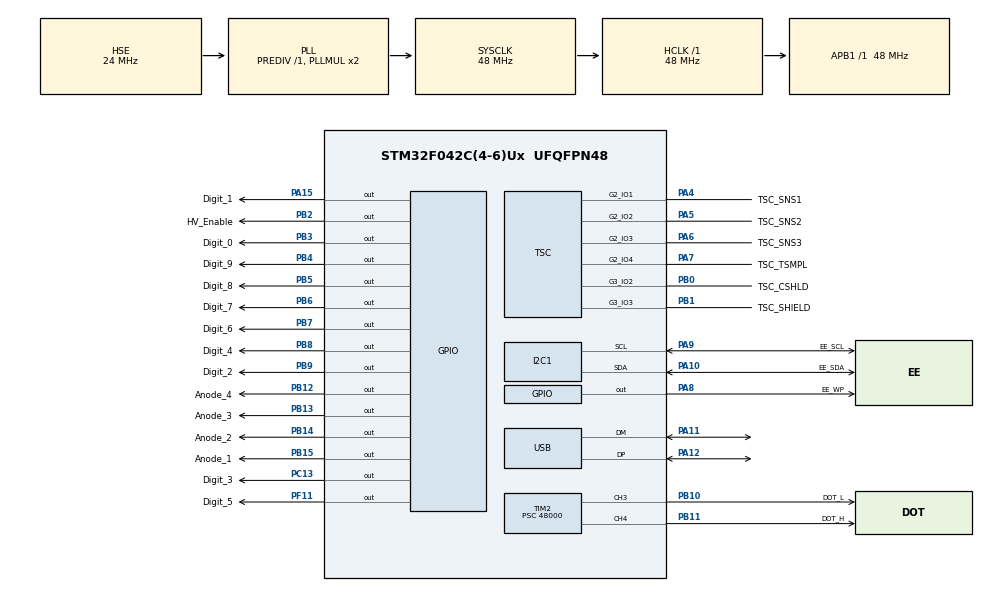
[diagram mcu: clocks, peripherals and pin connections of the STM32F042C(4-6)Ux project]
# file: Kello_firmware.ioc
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ADC.ClockPrescaler=ADC_CLOCK_ASYNC_DIV1
ADC.ContinuousConvMode=DISABLE
ADC.DMAContinuousRequests=DISABLE
ADC.DataAlign=ADC_DATAALIGN_RIGHT
ADC.DiscontinuousConvMode=DISABLE
ADC.EOCSelection=ADC_EOC_SINGLE_CONV
ADC.EnableAnalogWatchDog=false
ADC.ExternalTrigConv=ADC_SOFTWARE_START
ADC.ExternalTrigConvEdge=ADC_EXTERNALTRIGCONVEDGE_NONE
ADC.LowPowerAutoPowerOff=DISABLE
ADC.LowPowerAutoWait=DISABLE
ADC.Overrun=ADC_OVR_DATA_PRESERVED
ADC.Resolution=ADC_RESOLUTION_12B
ADC.SamplingTime=ADC_SAMPLETIME_1CYCLE_5
ADC.ScanConvMode=ADC_SCAN_DIRECTION_FORWARD
I2C1.Timing=0x20303E5D
Mcu.Family=STM32F0
Mcu.Name=STM32F042C(4-6)Ux
Mcu.Package=UFQFPN48
NVIC.TIM1_BRK_UP_TRG_COM_IRQn=true\:0\:0\:false\:false\:true\:true
NVIC.TIM1_CC_IRQn=true\:0\:0\:false\:false\:true\:true
NVIC.USB_IRQn=true\:0\:0\:false\:false\:true\:true
PA10.GPIO_Label=EE_SDA
PA10.Mode=I2C
PA10.Signal=I2C1_SDA
PA11.Mode=Device
PA11.Signal=USB_DM
PA12.Mode=Device
PA12.Signal=USB_DP
PA13.GPIO_Label=SWDIO
PA13.Mode=Serial_Wire
PA13.Signal=SYS_SWDIO
PA14.GPIO_Label=SWCLK
PA14.Mode=Serial_Wire
PA14.Signal=SYS_SWCLK
PA15.GPIO_Label=Digit_1
PA15.Signal=GPIO_Output
PA4.GPIO_Label=TSC_SNS1
PA4.Mode=G2_IO1-Channel
PA4.Signal=TSC_G2_IO1
PA5.GPIO_Label=TSC_SNS2
PA5.Mode=G2_IO2-Channel
PA5.Signal=TSC_G2_IO2
PA6.GPIO_Label=TSC_SNS3
PA6.Mode=G2_IO3-Channel
PA6.Signal=TSC_G2_IO3
PA7.GPIO_Label=TSC_TSMPL
PA7.Mode=G2_IO4-Sampling
PA7.Signal=TSC_G2_IO4
PA8.GPIO_Label=EE_WP
PA8.Signal=GPIO_Output
PA9.GPIO_Label=EE_SCL
PA9.Mode=I2C
PA9.Signal=I2C1_SCL
PB0.GPIO_Label=TSC_CSHLD
PB0.Mode=G3_IO2-Sampling
PB0.Signal=TSC_G3_IO2
PB1.GPIO_Label=TSC_SHIELD
PB1.Mode=G3_IO3-Shield
PB1.Signal=TSC_G3_IO3
PB10.GPIO_Label=DOT_L
PB10.Signal=S_TIM2_CH3
PB11.GPIO_Label=DOT_H
PB11.Signal=S_TIM2_CH4
PB12.GPIO_Label=Anode_4
PB12.Signal=GPIO_Output
PB13.GPIO_Label=Anode_3
PB13.Signal=GPIO_Output
PB14.GPIO_Label=Anode_2
PB14.GPIO_Speed=GPIO_SPEED_FREQ_LOW
PB14.Signal=GPIO_Output
PB15.GPIO_Label=Anode_1
PB15.Signal=GPIO_Output
PB2.GPIO_Label=HV_Enable
PB2.GPIO_ModeDefaultOutputPP=GPIO_MODE_OUTPUT_OD
PB2.PinState=GPIO_PIN_SET
PB2.Signal=GPIO_Output
PB3.GPIO_Label=Digit_0
PB3.Signal=GPIO_Output
PB4.GPIO_Label=Digit_9
PB4.Signal=GPIO_Output
PB5.GPIO_Label=Digit_8
PB5.Signal=GPIO_Output
PB6.GPIO_Label=Digit_7
PB6.Signal=GPIO_Output
PB7.GPIO_Label=Digit_6
PB7.Signal=GPIO_Output
PB8.GPIO_Label=Digit_4
PB8.Signal=GPIO_Output
PB9.GPIO_Label=Digit_2
PB9.Signal=GPIO_Output
PC13.GPIO_Label=Digit_3
PC13.Signal=GPIO_Output
PC14OSC32_IN.GPIO_Label=OSC32K_IN
PC14OSC32_IN.Mode=LSE-External-Oscillator
PC14OSC32_IN.Signal=RCC_OSC32_IN
PC15OSC32_OUT.GPIO_Label=OSC32K_OUT
PC15OSC32_OUT.Mode=LSE-External-Oscillator
PC15OSC32_OUT.Signal=RCC_OSC32_OUT
PF0-OSC_IN.GPIO_Label=OSC24M_IN
PF0-OSC_IN.Mode=HSE-External-Oscillator
PF0-OSC_IN.Signal=RCC_OSC_IN
PF1-OSC_OUT.GPIO_Label=OSC24M_OUT
PF1-OSC_OUT.Mode=HSE-External-Oscillator
PF1-OSC_OUT.Signal=RCC_OSC_OUT
PF11.GPIO_Label=Digit_5
PF11.Signal=GPIO_Output
ProjectManager.HeapSize=0x200
ProjectManager.StackSize=0x200
ProjectManager.TargetToolchain=SW4STM32
RCC.AHBFreq_Value=48000000
RCC.APB1Freq_Value=48000000
RCC.APB1TimFreq_Value=48000000
RCC.HCLKFreq_Value=48000000
RCC.HSE_VALUE=24000000
RCC.I2c1ClockSelection=RCC_I2C1CLKSOURCE_SYSCLK
RCC.RTCClockSelection=RCC_RTCCLKSOURCE_LSE
RCC.SYSCLKFreq_VALUE=48000000
RCC.SYSCLKSource=RCC_SYSCLKSOURCE_PLLCLK
RCC.USBClockSelection=RCC_USBCLKSOURCE_PLL
RCC.USBFreq_Value=48000000
RTC.Year=18
SH.S_TIM2_CH3.0=TIM2_CH3,PWM Generation3 CH3
SH.S_TIM2_CH4.0=TIM2_CH4,PWM Generation4 CH4
TIM1.Channel-PWM\ Generation1\ No\ Output=TIM_CHANNEL_1
TIM1.Period=500
TIM1.Prescaler=24
TIM1.Pulse-PWM\ Generation1\ No\ Output=250
TIM2.Channel-PWM\ Generation3\ CH3=TIM_CHANNEL_3
TIM2.Channel-PWM\ Generation4\ CH4=TIM_CHANNEL_4
TIM2.Period=2000
TIM2.Prescaler=48000
TIM2.Pulse-PWM\ Generation3\ CH3=1000
TIM2.Pulse-PWM\ Generation4\ CH4=1000
USB_DEVICE.CLASS_NAME_FS=CDC
USB_DEVICE.VirtualMode=Cdc
USB_DEVICE.VirtualModeFS=Cdc_FS
VP_ADC_TempSens_Input.Mode=IN-TempSens
VP_ADC_Vbat_Input.Mode=IN-Vbat
VP_RTC_VS_RTC_Activate.Mode=RTC_Enabled
VP_RTC_VS_RTC_Calendar.Mode=RTC_Calendar
VP_TIM1_VS_ClockSourceINT.Mode=Internal
VP_TIM1_VS_no_output1.Mode=PWM Generation1 No Output
VP_TIM2_VS_ClockSourceINT.Mode=Internal
VP_USB_DEVICE_VS_USB_DEVICE_CDC_FS.Mode=CDC_FS
board=Kello_firmware

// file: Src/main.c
/**
  ******************************************************************************
  * @file           : main.c
  * @brief          : Main program body
  ******************************************************************************
  * This notice applies to any and all portions of this file
  * that are not between comment pairs USER CODE BEGIN and
  * USER CODE END. Other portions of this file, whether
  * inserted by the user or by software development tools
  * are owned by their respective copyright owners.
  *
  * Copyright (c) 2018 STMicroelectronics International N.V.
  * All rights reserved.
  *
  * Redistribution and use in source and binary forms, with or without
  * modification, are permitted, provided that the following conditions are met:
  *
  * 1. Redistribution of source code must retain the above copyright notice,
  *    this list of conditions and the following disclaimer.
  * 2. Redistributions in binary form must reproduce the above copyright notice,
  *    this list of conditions and the following disclaimer in the documentation
  *    and/or other materials provided with the distribution.
  * 3. Neither the name of STMicroelectronics nor the names of other
  *    contributors to this software may be used to endorse or promote products
  *    derived from this software without specific written permission.
  * 4. This software, including modifications and/or derivative works of this
  *    software, must execute solely and exclusively on microcontroller or
  *    microprocessor devices manufactured by or for STMicroelectronics.
  * 5. Redistribution and use of this software other than as permitted under
  *    this license is void and will automatically terminate your rights under
  *    this license.
  *
  * THIS SOFTWARE IS PROVIDED BY STMICROELECTRONICS AND CONTRIBUTORS "AS IS"
  * AND ANY EXPRESS, IMPLIED OR STATUTORY WARRANTIES, INCLUDING, BUT NOT
  * LIMITED TO, THE IMPLIED WARRANTIES OF MERCHANTABILITY, FITNESS FOR A
  * PARTICULAR PURPOSE AND NON-INFRINGEMENT OF THIRD PARTY INTELLECTUAL PROPERTY
  * RIGHTS ARE DISCLAIMED TO THE FULLEST EXTENT PERMITTED BY LAW. IN NO EVENT
  * SHALL STMICROELECTRONICS OR CONTRIBUTORS BE LIABLE FOR ANY DIRECT, INDIRECT,
  * INCIDENTAL, SPECIAL, EXEMPLARY, OR CONSEQUENTIAL DAMAGES (INCLUDING, BUT NOT
  * LIMITED TO, PROCUREMENT OF SUBSTITUTE GOODS OR SERVICES; LOSS OF USE, DATA,
  * OR PROFITS; OR BUSINESS INTERRUPTION) HOWEVER CAUSED AND ON ANY THEORY OF
  * LIABILITY, WHETHER IN CONTRACT, STRICT LIABILITY, OR TORT (INCLUDING
  * NEGLIGENCE OR OTHERWISE) ARISING IN ANY WAY OUT OF THE USE OF THIS SOFTWARE,
  * EVEN IF ADVISED OF THE POSSIBILITY OF SUCH DAMAGE.
  *
  ******************************************************************************
  */
#include "main.h"
#include "stm32f0xx_hal.h"
#include "usb_device.h"

/* USER CODE BEGIN Includes */
#include "usbd_cdc_if.h" // USB
/* USER CODE END Includes */

ADC_HandleTypeDef hadc;

I2C_HandleTypeDef hi2c1;

RTC_HandleTypeDef hrtc;

TIM_HandleTypeDef htim1;
TIM_HandleTypeDef htim2;

TSC_HandleTypeDef htsc;

/* USER CODE BEGIN PV */
/* Private variables ---------------------------------------------------------*/
#define MULTIPLEXING		0

#define	EEPROM_ADDRESS		0b1010000
#define TIMEFORMAT_12		12
#define TIMEFORMAT_24		24

uint8_t		NIXIE_Digit1;
uint8_t		NIXIE_Digit2;
uint8_t		NIXIE_Digit3;
uint8_t		NIXIE_Digit4;

RTC_TimeTypeDef RTC_Time;
RTC_DateTypeDef RTC_Date;

uint8_t		HV_Enable;
uint8_t		TimeFormat;

uint16_t		TIM_Prescaler;
const uint16_t	TIM_Period = 500;
uint16_t		TIM_Compare;

// used in usbd_cdc_if.c
uint8_t			USB_Update_Time;
uint8_t			USB_Update_Brightness;
uint8_t			USB_Update_RefFreq;
uint8_t     	USB_Update_TimeFormat;

uint8_t			USB_Hours;
uint8_t			USB_Minutes;
uint8_t			USB_Seconds;
uint8_t			USB_TimeFormat;

uint8_t 		USB_Brightness;
uint16_t 		USB_RefreshFreq;
/* USER CODE END PV */

void SystemClock_Config(void);
static void MX_GPIO_Init(void);
static void MX_ADC_Init(void);
static void MX_I2C1_Init(void);
static void MX_RTC_Init(void);
static void MX_TSC_Init(void);
static void MX_TIM1_Init(void);
static void MX_TIM2_Init(void);

void HAL_TIM_MspPostInit(TIM_HandleTypeDef *htim);

/* USER CODE BEGIN PFP */
/* Private function prototypes -----------------------------------------------*/
void HAL_TIM_PeriodElapsedCallback(TIM_HandleTypeDef *htim)
{
	static uint8_t Current_Digit = 1;
	uint8_t	Current_Value = 0;

    if( htim == &htim1 ){
    	//Check if High Voltage Driver is enabled
    	if( HV_Enable ){
			// Poll time information
			HAL_RTC_GetTime(&hrtc, &RTC_Time, RTC_FORMAT_BCD);
			HAL_RTC_GetDate(&hrtc, &RTC_Date, RTC_FORMAT_BCD);

			// Determine value of currently shown digit
			if( TimeFormat == TIMEFORMAT_24 ){
				if( Current_Digit == 1 ) 		Current_Value = ((RTC_Time.Hours & 0xF0)>>4);
				else if( Current_Digit == 2 ) 	Current_Value =  (RTC_Time.Hours & 0x0F);
				else if( Current_Digit == 3 ) 	Current_Value = ((RTC_Time.Minutes & 0xF0)>>4);
				else if( Current_Digit == 4 ) 	Current_Value =  (RTC_Time.Minutes & 0x0F);
				else							Current_Value = 0;
			}else{
				if( Current_Digit == 1 ) 		Current_Value = (((RTC_Time.Hours%12) & 0xF0)>>4);
				else if( Current_Digit == 2 ) 	Current_Value =  ((RTC_Time.Hours%12) & 0x0F);
				else if( Current_Digit == 3 ) 	Current_Value = ((RTC_Time.Minutes & 0xF0)>>4);
				else if( Current_Digit == 4 ) 	Current_Value =  (RTC_Time.Minutes & 0x0F);
				else							Current_Value = 0;
			}

			// Disable all anodes
			HAL_GPIO_WritePin( Anode_1_GPIO_Port, Anode_1_Pin, GPIO_PIN_RESET );
			HAL_GPIO_WritePin( Anode_2_GPIO_Port, Anode_2_Pin, GPIO_PIN_RESET );
			HAL_GPIO_WritePin( Anode_3_GPIO_Port, Anode_3_Pin, GPIO_PIN_RESET );
			HAL_GPIO_WritePin( Anode_4_GPIO_Port, Anode_4_Pin, GPIO_PIN_RESET );
			// Disable all lamps (this should already be done by TIM Compare Callback, but just in case
			HAL_GPIO_WritePin( Digit_0_GPIO_Port, Digit_0_Pin, GPIO_PIN_RESET );
			HAL_GPIO_WritePin( Digit_1_GPIO_Port, Digit_1_Pin, GPIO_PIN_RESET );
			HAL_GPIO_WritePin( Digit_2_GPIO_Port, Digit_2_Pin, GPIO_PIN_RESET );
			HAL_GPIO_WritePin( Digit_3_GPIO_Port, Digit_3_Pin, GPIO_PIN_RESET );
			HAL_GPIO_WritePin( Digit_4_GPIO_Port, Digit_4_Pin, GPIO_PIN_RESET );
			HAL_GPIO_WritePin( Digit_5_GPIO_Port, Digit_5_Pin, GPIO_PIN_RESET );
			HAL_GPIO_WritePin( Digit_6_GPIO_Port, Digit_6_Pin, GPIO_PIN_RESET );
			HAL_GPIO_WritePin( Digit_7_GPIO_Port, Digit_7_Pin, GPIO_PIN_RESET );
			HAL_GPIO_WritePin( Digit_8_GPIO_Port, Digit_8_Pin, GPIO_PIN_RESET );
			HAL_GPIO_WritePin( Digit_9_GPIO_Port, Digit_9_Pin, GPIO_PIN_RESET );

			// Drive current digit
			if( Current_Value == 0 ) 		HAL_GPIO_WritePin( Digit_0_GPIO_Port, Digit_0_Pin, GPIO_PIN_SET );
			else if( Current_Value == 1 ) 	HAL_GPIO_WritePin( Digit_1_GPIO_Port, Digit_1_Pin, GPIO_PIN_SET );
			else if( Current_Value == 2 ) 	HAL_GPIO_WritePin( Digit_2_GPIO_Port, Digit_2_Pin, GPIO_PIN_SET );
			else if( Current_Value == 3 ) 	HAL_GPIO_WritePin( Digit_3_GPIO_Port, Digit_3_Pin, GPIO_PIN_SET );
			else if( Current_Value == 4 ) 	HAL_GPIO_WritePin( Digit_4_GPIO_Port, Digit_4_Pin, GPIO_PIN_SET );
			else if( Current_Value == 5 ) 	HAL_GPIO_WritePin( Digit_5_GPIO_Port, Digit_5_Pin, GPIO_PIN_SET );
			else if( Current_Value == 6 ) 	HAL_GPIO_WritePin( Digit_6_GPIO_Port, Digit_6_Pin, GPIO_PIN_SET );
			else if( Current_Value == 7 ) 	HAL_GPIO_WritePin( Digit_7_GPIO_Port, Digit_7_Pin, GPIO_PIN_SET );
			else if( Current_Value == 8 ) 	HAL_GPIO_WritePin( Digit_8_GPIO_Port, Digit_8_Pin, GPIO_PIN_SET );
			else if( Current_Value == 9 ) 	HAL_GPIO_WritePin( Digit_9_GPIO_Port, Digit_9_Pin, GPIO_PIN_SET );
			else						 	HAL_GPIO_WritePin( Digit_0_GPIO_Port, Digit_0_Pin, GPIO_PIN_SET );

			// Enable current lamp
			switch(Current_Digit){
			case 1:
				HAL_GPIO_WritePin( Anode_1_GPIO_Port, Anode_1_Pin, GPIO_PIN_SET );
				HAL_GPIO_WritePin( Anode_2_GPIO_Port, Anode_2_Pin, GPIO_PIN_RESET );
				HAL_GPIO_WritePin( Anode_3_GPIO_Port, Anode_3_Pin, GPIO_PIN_RESET );
				HAL_GPIO_WritePin( Anode_4_GPIO_Port, Anode_4_Pin, GPIO_PIN_RESET );
				Current_Digit = 2;
				break;
			case 2:
				HAL_GPIO_WritePin( Anode_1_GPIO_Port, Anode_1_Pin, GPIO_PIN_RESET );
				HAL_GPIO_WritePin( Anode_2_GPIO_Port, Anode_2_Pin, GPIO_PIN_SET );
				HAL_GPIO_WritePin( Anode_3_GPIO_Port, Anode_3_Pin, GPIO_PIN_RESET );
				HAL_GPIO_WritePin( Anode_4_GPIO_Port, Anode_4_Pin, GPIO_PIN_RESET );
				Current_Digit = 3;
				break;
			case 3:
				HAL_GPIO_WritePin( Anode_1_GPIO_Port, Anode_1_Pin, GPIO_PIN_RESET );
				HAL_GPIO_WritePin( Anode_2_GPIO_Port, Anode_2_Pin, GPIO_PIN_RESET );
				HAL_GPIO_WritePin( Anode_3_GPIO_Port, Anode_3_Pin, GPIO_PIN_SET );
				HAL_GPIO_WritePin( Anode_4_GPIO_Port, Anode_4_Pin, GPIO_PIN_RESET );
				Current_Digit = 4;
				break;
			case 4:
				HAL_GPIO_WritePin( Anode_1_GPIO_Port, Anode_1_Pin, GPIO_PIN_RESET );
				HAL_GPIO_WritePin( Anode_2_GPIO_Port, Anode_2_Pin, GPIO_PIN_RESET );
				HAL_GPIO_WritePin( Anode_3_GPIO_Port, Anode_3_Pin, GPIO_PIN_RESET );
				HAL_GPIO_WritePin( Anode_4_GPIO_Port, Anode_4_Pin, GPIO_PIN_SET );
				Current_Digit = 1;
				break;
			default:
				HAL_GPIO_WritePin( Anode_1_GPIO_Port, Anode_1_Pin, GPIO_PIN_RESET );
				HAL_GPIO_WritePin( Anode_2_GPIO_Port, Anode_2_Pin, GPIO_PIN_RESET );
				HAL_GPIO_WritePin( Anode_3_GPIO_Port, Anode_3_Pin, GPIO_PIN_RESET );
				HAL_GPIO_WritePin( Anode_4_GPIO_Port, Anode_4_Pin, GPIO_PIN_RESET );
				Current_Digit = 1;
			}
    	}else{
    		// If high voltage driver is disabled, then null all lines
    		HAL_GPIO_WritePin( Anode_1_GPIO_Port, Anode_1_Pin, GPIO_PIN_RESET );
			HAL_GPIO_WritePin( Anode_2_GPIO_Port, Anode_2_Pin, GPIO_PIN_RESET );
			HAL_GPIO_WritePin( Anode_3_GPIO_Port, Anode_3_Pin, GPIO_PIN_RESET );
			HAL_GPIO_WritePin( Anode_4_GPIO_Port, Anode_4_Pin, GPIO_PIN_RESET );

			HAL_GPIO_WritePin( Digit_0_GPIO_Port, Digit_0_Pin, GPIO_PIN_RESET );
			HAL_GPIO_WritePin( Digit_1_GPIO_Port, Digit_1_Pin, GPIO_PIN_RESET );
			HAL_GPIO_WritePin( Digit_2_GPIO_Port, Digit_2_Pin, GPIO_PIN_RESET );
			HAL_GPIO_WritePin( Digit_3_GPIO_Port, Digit_3_Pin, GPIO_PIN_RESET );
			HAL_GPIO_WritePin( Digit_4_GPIO_Port, Digit_4_Pin, GPIO_PIN_RESET );
			HAL_GPIO_WritePin( Digit_5_GPIO_Port, Digit_5_Pin, GPIO_PIN_RESET );
			HAL_GPIO_WritePin( Digit_6_GPIO_Port, Digit_6_Pin, GPIO_PIN_RESET );
			HAL_GPIO_WritePin( Digit_7_GPIO_Port, Digit_7_Pin, GPIO_PIN_RESET );
			HAL_GPIO_WritePin( Digit_8_GPIO_Port, Digit_8_Pin, GPIO_PIN_RESET );
			HAL_GPIO_WritePin( Digit_9_GPIO_Port, Digit_9_Pin, GPIO_PIN_RESET );
    	}
    }else if( htim == &htim2 ){
    	// Flashing dots, 1Hz
    	//HAL_GPIO_TogglePin( DOT_H_GPIO_Port, DOT_H_Pin );
    	//HAL_GPIO_TogglePin( DOT_L_GPIO_Port, DOT_L_Pin );
    }
}
void HAL_TIM_PWM_PulseFinishedCallback(TIM_HandleTypeDef *htim){
	// this function serves the purpose of variable brightness
	if( htim == &htim1 ){
		// due to ghosting (lamp to lamp) turn off the cathodes while leaving the anode on
		// this way the potential on cathodes will rise (during dead time) and prohibit unwanted glow

		HAL_GPIO_WritePin( Digit_0_GPIO_Port, Digit_0_Pin, GPIO_PIN_RESET );
		HAL_GPIO_WritePin( Digit_1_GPIO_Port, Digit_1_Pin, GPIO_PIN_RESET );
		HAL_GPIO_WritePin( Digit_2_GPIO_Port, Digit_2_Pin, GPIO_PIN_RESET );
		HAL_GPIO_WritePin( Digit_3_GPIO_Port, Digit_3_Pin, GPIO_PIN_RESET );
		HAL_GPIO_WritePin( Digit_4_GPIO_Port, Digit_4_Pin, GPIO_PIN_RESET );
		HAL_GPIO_WritePin( Digit_5_GPIO_Port, Digit_5_Pin, GPIO_PIN_RESET );
		HAL_GPIO_WritePin( Digit_6_GPIO_Port, Digit_6_Pin, GPIO_PIN_RESET );
		HAL_GPIO_WritePin( Digit_7_GPIO_Port, Digit_7_Pin, GPIO_PIN_RESET );
		HAL_GPIO_WritePin( Digit_8_GPIO_Port, Digit_8_Pin, GPIO_PIN_RESET );
		HAL_GPIO_WritePin( Digit_9_GPIO_Port, Digit_9_Pin, GPIO_PIN_RESET );

		HAL_GPIO_WritePin( Anode_1_GPIO_Port, Anode_1_Pin, GPIO_PIN_SET );
		HAL_GPIO_WritePin( Anode_2_GPIO_Port, Anode_2_Pin, GPIO_PIN_SET );
		HAL_GPIO_WritePin( Anode_3_GPIO_Port, Anode_3_Pin, GPIO_PIN_SET );
		HAL_GPIO_WritePin( Anode_4_GPIO_Port, Anode_4_Pin, GPIO_PIN_SET );
	}
}
/**
  * @brief  Set Nixie Brightness
  * @param  Specifies the brightness of Nixie Tubes in %.
  *          This parameter can take value from range of 1 - 70
  * @note  Due to ghosting (lamp to lamp) brightness is limited to 70 - this ensures some dead time in-between
  * @retval HAL status
  */
HAL_StatusTypeDef SetBrightness( uint8_t val ){
	// check the value range
	if( val < 1 || val > 70 ) return HAL_ERROR;

	// Constant Period of 500
	TIM_Compare = TIM_Period / 100 * val;
	__HAL_TIM_SET_COMPARE(&htim1, TIM_CHANNEL_1, TIM_Compare);

	return HAL_OK;
}
/**
  * @brief  Set Nixie Refresh rate
  * @param  Specifies the Refresh rate of Nixie Tubes in Hz.
  *          This parameter can take value from range of 10 - 1000
  * @retval HAL status
  */
HAL_StatusTypeDef SetRefreshRate( uint16_t freq ){
	// check the value range
	if( freq < 10 || freq > 1000 ) return HAL_ERROR;

	// 24 	- 1000 Hz
	// 240 	-  100 Hz
	// 2400 -   10 Hz
	TIM_Prescaler = 24000/freq;
	__HAL_TIM_SET_PRESCALER(&htim1, TIM_Prescaler);

	return HAL_OK;
}
/**
  * @brief  Initialize Nixie Refresh timer
  */
void NixieTimInit( void ){
	HAL_StatusTypeDef ret = HAL_OK;
	uint8_t 	Brightness;
	uint16_t 	RefreshFreq;

	// poll data from EEprom
	ret |= HAL_I2C_Mem_Read(&hi2c1, EEPROM_ADDRESS, 0x00, 1, &Brightness, 1, 100);
	ret |= HAL_I2C_Mem_Read(&hi2c1, EEPROM_ADDRESS, 0x01, 1, ((uint8_t*)&RefreshFreq), 2, 100);
	ret |= HAL_I2C_Mem_Read(&hi2c1, EEPROM_ADDRESS, 0x02, 1, &TimeFormat, 1, 100);
	// if EEprom is broken or not installed, assume default values
	if( ret == HAL_ERROR ){
		// 100 Hz Refresh, 70% brightness, 24h format
		Brightness  = 70;
		RefreshFreq = 100;
		TimeFormat	= TIMEFORMAT_24;
	}else{
		// check for correctness of received data
		// EEprom chips from factory usually have mem wiped to 0x00 or 0xFF (no info in datasheet)
		if( Brightness < 1 || Brightness > 100 ){
			Brightness = 70;

			HAL_GPIO_WritePin(EE_WP_GPIO_Port, EE_WP_Pin, GPIO_PIN_RESET);
			HAL_Delay(10);
			HAL_I2C_Mem_Write(&hi2c1, EEPROM_ADDRESS, 0x00, 1, &Brightness, 1, 100);
			HAL_Delay(10);
			HAL_GPIO_WritePin(EE_WP_GPIO_Port, EE_WP_Pin, GPIO_PIN_SET);
		}
		if( RefreshFreq < 10 || RefreshFreq > 1000 ){
			RefreshFreq = 100;

			HAL_GPIO_WritePin(EE_WP_GPIO_Port, EE_WP_Pin, GPIO_PIN_RESET);
			HAL_Delay(10);
			HAL_I2C_Mem_Write(&hi2c1, EEPROM_ADDRESS, 0x01, 1, ((uint8_t*)&RefreshFreq), 1, 100);
			HAL_Delay(10);
			HAL_GPIO_WritePin(EE_WP_GPIO_Port, EE_WP_Pin, GPIO_PIN_SET);
		}
		if( TimeFormat != TIMEFORMAT_12 && TimeFormat != TIMEFORMAT_24 ){
			TimeFormat = TIMEFORMAT_24;

			HAL_GPIO_WritePin(EE_WP_GPIO_Port, EE_WP_Pin, GPIO_PIN_RESET);
			HAL_Delay(10);
			HAL_I2C_Mem_Write(&hi2c1, EEPROM_ADDRESS, 0x02, 1, &TimeFormat, 1, 100);
			HAL_Delay(10);
			HAL_GPIO_WritePin(EE_WP_GPIO_Port, EE_WP_Pin, GPIO_PIN_SET);
		}
	}

	SetBrightness( Brightness );
	SetRefreshRate( RefreshFreq );

	// Start timer
	HAL_TIM_Base_Start_IT(&htim1);
	HAL_TIM_Base_Start_IT(&htim2);

	HAL_TIM_PWM_Start_IT(&htim1, TIM_CHANNEL_1);
	HAL_TIM_PWM_Start(&htim2, TIM_CHANNEL_3);
	HAL_TIM_PWM_Start(&htim2, TIM_CHANNEL_4);
}
/* USER CODE END PFP */

int main(void)
{
  /* USER CODE BEGIN 1 */
	USB_Update_Time = 0;
	USB_Update_Brightness = 0;
	USB_Update_RefFreq = 0;
  /* USER CODE END 1 */

  /* MCU Configuration----------------------------------------------------------*/

  /* Reset of all peripherals, Initializes the Flash interface and the Systick. */
  HAL_Init();

  /* Configure the system clock */
  SystemClock_Config();

  /* Initialize all configured peripherals */
  MX_GPIO_Init();
  MX_ADC_Init();
  MX_I2C1_Init();
  MX_RTC_Init();
  MX_TSC_Init();
  MX_TIM1_Init();
  MX_TIM2_Init();
  MX_USB_DEVICE_Init();
  /* USER CODE BEGIN 2 */
  NixieTimInit();
  HV_Enable = 1;
  HAL_GPIO_WritePin(HV_Enable_GPIO_Port, HV_Enable_Pin, GPIO_PIN_RESET);
  /* USER CODE END 2 */

  /* Infinite loop */
  /* USER CODE BEGIN WHILE */
  // wait for system driver to initialize
  HAL_Delay(1000);
  //USB_Hours 	= 0x17;
  //USB_Minutes 	= 0x45;
  //USB_Seconds 	= 0x00;
  //USB_Update_Time = 1;

  while (1)
  {
  /* USER CODE END WHILE */

  /* USER CODE BEGIN 3 */
	  if( USB_Update_Time ){
		  RTC_TimeTypeDef USB_RTC_Time;
		  USB_RTC_Time.Hours = USB_Hours;
		  USB_RTC_Time.Minutes = USB_Minutes;
		  USB_RTC_Time.Seconds = USB_Seconds;
		  USB_RTC_Time.TimeFormat = TIMEFORMAT_24;
		  HAL_RTC_SetTime(&hrtc, &USB_RTC_Time, RTC_FORMAT_BCD);
		  USB_Update_Time = 0;
	  }else if( USB_Update_Brightness ){
		  SetBrightness(USB_Brightness);
		  USB_Update_Brightness = 0;
	  }else if( USB_Update_RefFreq ){
		  SetRefreshRate(USB_RefreshFreq);
		  USB_Update_RefFreq = 0;
	  }else if( USB_Update_TimeFormat ){
		  TimeFormat = USB_TimeFormat;
		  USB_Update_RefFreq = 0;
	  }
  }
  /* USER CODE END 3 */

}

void SystemClock_Config(void)
{

  RCC_OscInitTypeDef RCC_OscInitStruct;
  RCC_ClkInitTypeDef RCC_ClkInitStruct;
  RCC_PeriphCLKInitTypeDef PeriphClkInit;

    /**Configure LSE Drive Capability
    */
  HAL_PWR_EnableBkUpAccess();

  __HAL_RCC_LSEDRIVE_CONFIG(RCC_LSEDRIVE_HIGH);

    /**Initializes the CPU, AHB and APB busses clocks
    */
  RCC_OscInitStruct.OscillatorType = RCC_OSCILLATORTYPE_HSI14|RCC_OSCILLATORTYPE_HSE
                              |RCC_OSCILLATORTYPE_LSE;
  RCC_OscInitStruct.HSEState = RCC_HSE_ON;
  RCC_OscInitStruct.LSEState = RCC_LSE_ON;
  RCC_OscInitStruct.HSI14State = RCC_HSI14_ON;
  RCC_OscInitStruct.HSI14CalibrationValue = 16;
  RCC_OscInitStruct.PLL.PLLState = RCC_PLL_ON;
  RCC_OscInitStruct.PLL.PLLSource = RCC_PLLSOURCE_HSE;
  RCC_OscInitStruct.PLL.PLLMUL = RCC_PLL_MUL2;
  RCC_OscInitStruct.PLL.PREDIV = RCC_PREDIV_DIV1;
  if (HAL_RCC_OscConfig(&RCC_OscInitStruct) != HAL_OK)
  {
    _Error_Handler(__FILE__, __LINE__);
  }

    /**Initializes the CPU, AHB and APB busses clocks
    */
  RCC_ClkInitStruct.ClockType = RCC_CLOCKTYPE_HCLK|RCC_CLOCKTYPE_SYSCLK
                              |RCC_CLOCKTYPE_PCLK1;
  RCC_ClkInitStruct.SYSCLKSource = RCC_SYSCLKSOURCE_PLLCLK;
  RCC_ClkInitStruct.AHBCLKDivider = RCC_SYSCLK_DIV1;
  RCC_ClkInitStruct.APB1CLKDivider = RCC_HCLK_DIV1;

  if (HAL_RCC_ClockConfig(&RCC_ClkInitStruct, FLASH_LATENCY_1) != HAL_OK)
  {
    _Error_Handler(__FILE__, __LINE__);
  }

  PeriphClkInit.PeriphClockSelection = RCC_PERIPHCLK_USB|RCC_PERIPHCLK_I2C1
                              |RCC_PERIPHCLK_RTC;
  PeriphClkInit.I2c1ClockSelection = RCC_I2C1CLKSOURCE_SYSCLK;
  PeriphClkInit.RTCClockSelection = RCC_RTCCLKSOURCE_LSE;
  PeriphClkInit.UsbClockSelection = RCC_USBCLKSOURCE_PLL;

  if (HAL_RCCEx_PeriphCLKConfig(&PeriphClkInit) != HAL_OK)
  {
    _Error_Handler(__FILE__, __LINE__);
  }

    /**Configure the Systick interrupt time
    */
  HAL_SYSTICK_Config(HAL_RCC_GetHCLKFreq()/1000);

    /**Configure the Systick
    */
  HAL_SYSTICK_CLKSourceConfig(SYSTICK_CLKSOURCE_HCLK);

  /* SysTick_IRQn interrupt configuration */
  HAL_NVIC_SetPriority(SysTick_IRQn, 0, 0);
}

/* ADC init function */
static void MX_ADC_Init(void)
{

  ADC_ChannelConfTypeDef sConfig;

    /**Configure the global features of the ADC (Clock, Resolution, Data Alignment and number of conversion)
    */
  hadc.Instance = ADC1;
  hadc.Init.ClockPrescaler = ADC_CLOCK_ASYNC_DIV1;
  hadc.Init.Resolution = ADC_RESOLUTION_12B;
  hadc.Init.DataAlign = ADC_DATAALIGN_RIGHT;
  hadc.Init.ScanConvMode = ADC_SCAN_DIRECTION_FORWARD;
  hadc.Init.EOCSelection = ADC_EOC_SINGLE_CONV;
  hadc.Init.LowPowerAutoWait = DISABLE;
  hadc.Init.LowPowerAutoPowerOff = DISABLE;
  hadc.Init.ContinuousConvMode = DISABLE;
  hadc.Init.DiscontinuousConvMode = DISABLE;
  hadc.Init.ExternalTrigConv = ADC_SOFTWARE_START;
  hadc.Init.ExternalTrigConvEdge = ADC_EXTERNALTRIGCONVEDGE_NONE;
  hadc.Init.DMAContinuousRequests = DISABLE;
  hadc.Init.Overrun = ADC_OVR_DATA_PRESERVED;
  if (HAL_ADC_Init(&hadc) != HAL_OK)
  {
    _Error_Handler(__FILE__, __LINE__);
  }

    /**Configure for the selected ADC regular channel to be converted.
    */
  sConfig.Channel = ADC_CHANNEL_TEMPSENSOR;
  sConfig.Rank = ADC_RANK_CHANNEL_NUMBER;
  sConfig.SamplingTime = ADC_SAMPLETIME_1CYCLE_5;
  if (HAL_ADC_ConfigChannel(&hadc, &sConfig) != HAL_OK)
  {
    _Error_Handler(__FILE__, __LINE__);
  }

    /**Configure for the selected ADC regular channel to be converted.
    */
  sConfig.Channel = ADC_CHANNEL_VBAT;
  if (HAL_ADC_ConfigChannel(&hadc, &sConfig) != HAL_OK)
  {
    _Error_Handler(__FILE__, __LINE__);
  }

}

/* I2C1 init function */
static void MX_I2C1_Init(void)
{

  hi2c1.Instance = I2C1;
  hi2c1.Init.Timing = 0x20303E5D;
  hi2c1.Init.OwnAddress1 = 0;
  hi2c1.Init.AddressingMode = I2C_ADDRESSINGMODE_7BIT;
  hi2c1.Init.DualAddressMode = I2C_DUALADDRESS_DISABLE;
  hi2c1.Init.OwnAddress2 = 0;
  hi2c1.Init.OwnAddress2Masks = I2C_OA2_NOMASK;
  hi2c1.Init.GeneralCallMode = I2C_GENERALCALL_DISABLE;
  hi2c1.Init.NoStretchMode = I2C_NOSTRETCH_DISABLE;
  if (HAL_I2C_Init(&hi2c1) != HAL_OK)
  {
    _Error_Handler(__FILE__, __LINE__);
  }

    /**Configure Analogue filter
    */
  if (HAL_I2CEx_ConfigAnalogFilter(&hi2c1, I2C_ANALOGFILTER_ENABLE) != HAL_OK)
  {
    _Error_Handler(__FILE__, __LINE__);
  }

    /**Configure Digital filter
    */
  if (HAL_I2CEx_ConfigDigitalFilter(&hi2c1, 0) != HAL_OK)
  {
    _Error_Handler(__FILE__, __LINE__);
  }

}

/* RTC init function */
static void MX_RTC_Init(void)
{

  RTC_TimeTypeDef sTime;
  RTC_DateTypeDef sDate;

  /* USER CODE BEGIN RTC_Init 1 */
  //if( RTC->ISR == 7 ){
  	  if(RTC->ISR == 7){ // Register Status Flag cold start value
          return;
      }
	  /* USER CODE END RTC_Init 1 */

		/**Initialize RTC Only
		*/
	  hrtc.Instance = RTC;
	  hrtc.Init.HourFormat = RTC_HOURFORMAT_24;
	  hrtc.Init.AsynchPrediv = 127;
	  hrtc.Init.SynchPrediv = 255;
	  hrtc.Init.OutPut = RTC_OUTPUT_DISABLE;
	  hrtc.Init.OutPutPolarity = RTC_OUTPUT_POLARITY_HIGH;
	  hrtc.Init.OutPutType = RTC_OUTPUT_TYPE_OPENDRAIN;
	  if (HAL_RTC_Init(&hrtc) != HAL_OK)
	  {
		_Error_Handler(__FILE__, __LINE__);
	  }

		/**Initialize RTC and set the Time and Date
		*/
	  sTime.Hours = 0x0;
	  sTime.Minutes = 0x0;
	  sTime.Seconds = 0x0;
	  sTime.DayLightSaving = RTC_DAYLIGHTSAVING_NONE;
	  sTime.StoreOperation = RTC_STOREOPERATION_RESET;
	  if (HAL_RTC_SetTime(&hrtc, &sTime, RTC_FORMAT_BCD) != HAL_OK)
	  {
		_Error_Handler(__FILE__, __LINE__);
	  }

	  sDate.WeekDay = RTC_WEEKDAY_MONDAY;
	  sDate.Month = RTC_MONTH_JANUARY;
	  sDate.Date = 0x1;
	  sDate.Year = 0x0;

	  if (HAL_RTC_SetDate(&hrtc, &sDate, RTC_FORMAT_BCD) != HAL_OK)
	  {
		_Error_Handler(__FILE__, __LINE__);
	  }
	  /* USER CODE BEGIN RTC_Init 4 */
	//}
  /* USER CODE END RTC_Init 4 */

}

/* TIM1 init function */
static void MX_TIM1_Init(void)
{

  TIM_ClockConfigTypeDef sClockSourceConfig;
  TIM_MasterConfigTypeDef sMasterConfig;
  TIM_OC_InitTypeDef sConfigOC;
  TIM_BreakDeadTimeConfigTypeDef sBreakDeadTimeConfig;

  htim1.Instance = TIM1;
  htim1.Init.Prescaler = 24;
  htim1.Init.CounterMode = TIM_COUNTERMODE_UP;
  htim1.Init.Period = 500;
  htim1.Init.ClockDivision = TIM_CLOCKDIVISION_DIV1;
  htim1.Init.RepetitionCounter = 0;
  htim1.Init.AutoReloadPreload = TIM_AUTORELOAD_PRELOAD_DISABLE;
  if (HAL_TIM_Base_Init(&htim1) != HAL_OK)
  {
    _Error_Handler(__FILE__, __LINE__);
  }

  sClockSourceConfig.ClockSource = TIM_CLOCKSOURCE_INTERNAL;
  if (HAL_TIM_ConfigClockSource(&htim1, &sClockSourceConfig) != HAL_OK)
  {
    _Error_Handler(__FILE__, __LINE__);
  }

  if (HAL_TIM_PWM_Init(&htim1) != HAL_OK)
  {
    _Error_Handler(__FILE__, __LINE__);
  }

  sMasterConfig.MasterOutputTrigger = TIM_TRGO_RESET;
  sMasterConfig.MasterSlaveMode = TIM_MASTERSLAVEMODE_DISABLE;
  if (HAL_TIMEx_MasterConfigSynchronization(&htim1, &sMasterConfig) != HAL_OK)
  {
    _Error_Handler(__FILE__, __LINE__);
  }

  sConfigOC.OCMode = TIM_OCMODE_PWM1;
  sConfigOC.Pulse = 250;
  sConfigOC.OCPolarity = TIM_OCPOLARITY_HIGH;
  sConfigOC.OCNPolarity = TIM_OCNPOLARITY_HIGH;
  sConfigOC.OCFastMode = TIM_OCFAST_DISABLE;
  sConfigOC.OCIdleState = TIM_OCIDLESTATE_RESET;
  sConfigOC.OCNIdleState = TIM_OCNIDLESTATE_RESET;
  if (HAL_TIM_PWM_ConfigChannel(&htim1, &sConfigOC, TIM_CHANNEL_1) != HAL_OK)
  {
    _Error_Handler(__FILE__, __LINE__);
  }

  sBreakDeadTimeConfig.OffStateRunMode = TIM_OSSR_DISABLE;
  sBreakDeadTimeConfig.OffStateIDLEMode = TIM_OSSI_DISABLE;
  sBreakDeadTimeConfig.LockLevel = TIM_LOCKLEVEL_OFF;
  sBreakDeadTimeConfig.DeadTime = 0;
  sBreakDeadTimeConfig.BreakState = TIM_BREAK_DISABLE;
  sBreakDeadTimeConfig.BreakPolarity = TIM_BREAKPOLARITY_HIGH;
  sBreakDeadTimeConfig.AutomaticOutput = TIM_AUTOMATICOUTPUT_DISABLE;
  if (HAL_TIMEx_ConfigBreakDeadTime(&htim1, &sBreakDeadTimeConfig) != HAL_OK)
  {
    _Error_Handler(__FILE__, __LINE__);
  }

}

/* TIM2 init function */
static void MX_TIM2_Init(void)
{

  TIM_ClockConfigTypeDef sClockSourceConfig;
  TIM_MasterConfigTypeDef sMasterConfig;
  TIM_OC_InitTypeDef sConfigOC;

  htim2.Instance = TIM2;
  htim2.Init.Prescaler = 48000;
  htim2.Init.CounterMode = TIM_COUNTERMODE_UP;
  htim2.Init.Period = 2000;
  htim2.Init.ClockDivision = TIM_CLOCKDIVISION_DIV1;
  htim2.Init.AutoReloadPreload = TIM_AUTORELOAD_PRELOAD_DISABLE;
  if (HAL_TIM_Base_Init(&htim2) != HAL_OK)
  {
    _Error_Handler(__FILE__, __LINE__);
  }

  sClockSourceConfig.ClockSource = TIM_CLOCKSOURCE_INTERNAL;
  if (HAL_TIM_ConfigClockSource(&htim2, &sClockSourceConfig) != HAL_OK)
  {
    _Error_Handler(__FILE__, __LINE__);
  }

  if (HAL_TIM_PWM_Init(&htim2) != HAL_OK)
  {
    _Error_Handler(__FILE__, __LINE__);
  }

  sMasterConfig.MasterOutputTrigger = TIM_TRGO_RESET;
  sMasterConfig.MasterSlaveMode = TIM_MASTERSLAVEMODE_DISABLE;
  if (HAL_TIMEx_MasterConfigSynchronization(&htim2, &sMasterConfig) != HAL_OK)
  {
    _Error_Handler(__FILE__, __LINE__);
  }

  sConfigOC.OCMode = TIM_OCMODE_PWM1;
  sConfigOC.Pulse = 1000;
  sConfigOC.OCPolarity = TIM_OCPOLARITY_HIGH;
  sConfigOC.OCFastMode = TIM_OCFAST_DISABLE;
  if (HAL_TIM_PWM_ConfigChannel(&htim2, &sConfigOC, TIM_CHANNEL_3) != HAL_OK)
  {
    _Error_Handler(__FILE__, __LINE__);
  }

  if (HAL_TIM_PWM_ConfigChannel(&htim2, &sConfigOC, TIM_CHANNEL_4) != HAL_OK)
  {
    _Error_Handler(__FILE__, __LINE__);
  }

  HAL_TIM_MspPostInit(&htim2);

}

/* TSC init function */
static void MX_TSC_Init(void)
{

    /**Configure the TSC peripheral
    */
  htsc.Instance = TSC;
  htsc.Init.CTPulseHighLength = TSC_CTPH_2CYCLES;
  htsc.Init.CTPulseLowLength = TSC_CTPL_2CYCLES;
  htsc.Init.SpreadSpectrum = DISABLE;
  htsc.Init.SpreadSpectrumDeviation = 1;
  htsc.Init.SpreadSpectrumPrescaler = TSC_SS_PRESC_DIV1;
  htsc.Init.PulseGeneratorPrescaler = TSC_PG_PRESC_DIV4;
  htsc.Init.MaxCountValue = TSC_MCV_8191;
  htsc.Init.IODefaultMode = TSC_IODEF_OUT_PP_LOW;
  htsc.Init.SynchroPinPolarity = TSC_SYNC_POLARITY_FALLING;
  htsc.Init.AcquisitionMode = TSC_ACQ_MODE_NORMAL;
  htsc.Init.MaxCountInterrupt = DISABLE;
  htsc.Init.ChannelIOs = TSC_GROUP2_IO1|TSC_GROUP2_IO2|TSC_GROUP2_IO3;
  htsc.Init.ShieldIOs = TSC_GROUP3_IO3;
  htsc.Init.SamplingIOs = TSC_GROUP2_IO4|TSC_GROUP3_IO2;
  if (HAL_TSC_Init(&htsc) != HAL_OK)
  {
    _Error_Handler(__FILE__, __LINE__);
  }

}

/** Configure pins as
        * Analog
        * Input
        * Output
        * EVENT_OUT
        * EXTI
*/
static void MX_GPIO_Init(void)
{

  GPIO_InitTypeDef GPIO_InitStruct;

  /* GPIO Ports Clock Enable */
  __HAL_RCC_GPIOC_CLK_ENABLE();
  __HAL_RCC_GPIOF_CLK_ENABLE();
  __HAL_RCC_GPIOA_CLK_ENABLE();
  __HAL_RCC_GPIOB_CLK_ENABLE();

  /*Configure GPIO pin Output Level */
  HAL_GPIO_WritePin(Digit_3_GPIO_Port, Digit_3_Pin, GPIO_PIN_RESET);

  /*Configure GPIO pin Output Level */
  HAL_GPIO_WritePin(HV_Enable_GPIO_Port, HV_Enable_Pin, GPIO_PIN_SET);

  /*Configure GPIO pin Output Level */
  HAL_GPIO_WritePin(GPIOB, Anode_4_Pin|Anode_3_Pin|Anode_2_Pin|Anode_1_Pin
                          |Digit_0_Pin|Digit_9_Pin|Digit_8_Pin|Digit_7_Pin
                          |Digit_6_Pin|Digit_4_Pin|Digit_2_Pin, GPIO_PIN_RESET);

  /*Configure GPIO pin Output Level */
  HAL_GPIO_WritePin(GPIOA, EE_WP_Pin|Digit_1_Pin, GPIO_PIN_RESET);

  /*Configure GPIO pin Output Level */
  HAL_GPIO_WritePin(Digit_5_GPIO_Port, Digit_5_Pin, GPIO_PIN_RESET);

  /*Configure GPIO pin : Digit_3_Pin */
  GPIO_InitStruct.Pin = Digit_3_Pin;
  GPIO_InitStruct.Mode = GPIO_MODE_OUTPUT_PP;
  GPIO_InitStruct.Pull = GPIO_NOPULL;
  GPIO_InitStruct.Speed = GPIO_SPEED_FREQ_LOW;
  HAL_GPIO_Init(Digit_3_GPIO_Port, &GPIO_InitStruct);

  /*Configure GPIO pin : HV_Enable_Pin */
  GPIO_InitStruct.Pin = HV_Enable_Pin;
  GPIO_InitStruct.Mode = GPIO_MODE_OUTPUT_OD;
  GPIO_InitStruct.Pull = GPIO_NOPULL;
  GPIO_InitStruct.Speed = GPIO_SPEED_FREQ_LOW;
  HAL_GPIO_Init(HV_Enable_GPIO_Port, &GPIO_InitStruct);

  /*Configure GPIO pins : Anode_4_Pin Anode_3_Pin Anode_2_Pin Anode_1_Pin
                           Digit_0_Pin Digit_9_Pin Digit_8_Pin Digit_7_Pin
                           Digit_6_Pin Digit_4_Pin Digit_2_Pin */
  GPIO_InitStruct.Pin = Anode_4_Pin|Anode_3_Pin|Anode_2_Pin|Anode_1_Pin
                          |Digit_0_Pin|Digit_9_Pin|Digit_8_Pin|Digit_7_Pin
                          |Digit_6_Pin|Digit_4_Pin|Digit_2_Pin;
  GPIO_InitStruct.Mode = GPIO_MODE_OUTPUT_PP;
  GPIO_InitStruct.Pull = GPIO_NOPULL;
  GPIO_InitStruct.Speed = GPIO_SPEED_FREQ_LOW;
  HAL_GPIO_Init(GPIOB, &GPIO_InitStruct);

  /*Configure GPIO pins : EE_WP_Pin Digit_1_Pin */
  GPIO_InitStruct.Pin = EE_WP_Pin|Digit_1_Pin;
  GPIO_InitStruct.Mode = GPIO_MODE_OUTPUT_PP;
  GPIO_InitStruct.Pull = GPIO_NOPULL;
  GPIO_InitStruct.Speed = GPIO_SPEED_FREQ_LOW;
  HAL_GPIO_Init(GPIOA, &GPIO_InitStruct);

  /*Configure GPIO pin : Digit_5_Pin */
  GPIO_InitStruct.Pin = Digit_5_Pin;
  GPIO_InitStruct.Mode = GPIO_MODE_OUTPUT_PP;
  GPIO_InitStruct.Pull = GPIO_NOPULL;
  GPIO_InitStruct.Speed = GPIO_SPEED_FREQ_LOW;
  HAL_GPIO_Init(Digit_5_GPIO_Port, &GPIO_InitStruct);

}

void _Error_Handler(char *file, int line)
{
  while(1)
  {
  }
}

/************************ (C) COPYRIGHT STMicroelectronics *****END OF FILE****/
